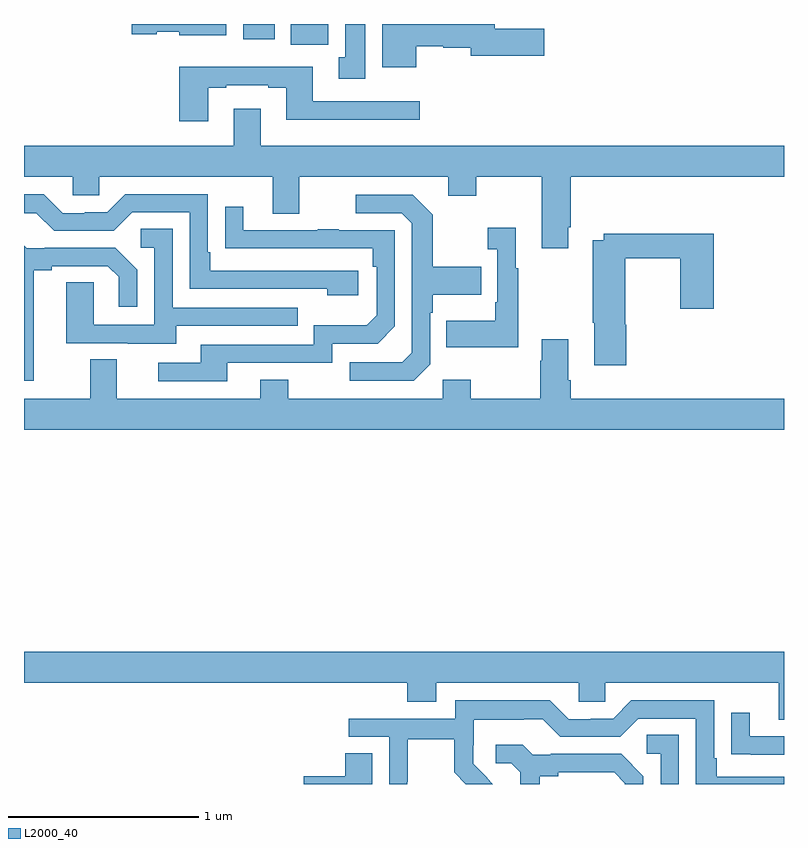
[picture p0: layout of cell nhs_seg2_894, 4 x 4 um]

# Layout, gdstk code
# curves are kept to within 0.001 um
import gdstk
lib = gdstk.Library(unit=1e-6, precision=1e-09)
def R(c, l, rs):  # rectangles x0, y0, x1, y1
    for r in rs: c.add(gdstk.rectangle(r[:2], r[2:], *l))
def P(c, l, *ps):  # polygons
    for p in ps: c.add(gdstk.Polygon(p, *l))
L2000_40 = (2000, 40)

nhs_seg2_894 = lib.new_cell('nhs_seg2_894')
R(nhs_seg2_894, L2000_40, [(158.405,621.692,158.602,621.8), (158.153,621.72,158.32,621.8)])
P(nhs_seg2_894, L2000_40, [(158.065,621.8),(157.566,621.8),(157.566,621.746),(157.698,621.746),(157.698,621.758),(157.818,621.758),(157.818,621.74),(158.065,621.74)],
  [(158.797,621.8),(158.69,621.8),(158.69,621.626),(158.657,621.626),(158.657,621.513),(158.797,621.513)],
  [(159.064,621.684),(159.207,621.684),(159.207,621.676),(159.35,621.676),(159.35,621.634),(159.739,621.634),(159.739,621.776),(159.478,621.776),(159.478,621.8),(158.885,621.8),(158.885,621.572),(159.064,621.572)],
  [(157.969,621.465),(158.065,621.465),(158.065,621.477),(158.285,621.477),(158.285,621.465),(158.381,621.465),(158.381,621.296),(159.082,621.296),(159.082,621.393),(158.521,621.393),(158.521,621.574),(157.817,621.574),(157.817,621.288),(157.969,621.288)],
  [(159.865,620.731),(159.878,620.731),(159.878,620.996),(161,620.996),(161,621.16),(158.245,621.16),(158.245,621.355),(158.105,621.355),(158.105,621.16),(157,621.16),(157,620.996),(157.257,620.996),(157.257,620.898),(157.395,620.898),(157.395,620.996),(158.309,620.996),(158.309,620.802),(158.449,620.802),(158.449,620.996),(159.233,620.996),(159.233,620.897),(159.381,620.897),(159.381,620.996),(159.725,620.996),(159.725,620.619),(159.865,620.619)],
  [(158.758,620.502),(157.981,620.502),(157.981,620.599),(157.968,620.599),(157.968,620.904),(157.533,620.904),(157.437,620.808),(157.319,620.808),(157.319,620.805),(157.203,620.805),(157.103,620.905),(157,620.905),(157,620.805),(157.065,620.805),(157.158,620.712),(157.473,620.712),(157.569,620.808),(157.872,620.808),(157.872,620.406),(158.597,620.406),(158.597,620.372),(158.758,620.372)],
  [(159.138,620.01),(159.138,620.279),(159.151,620.279),(159.151,620.375),(159.407,620.375),(159.407,620.523),(159.151,620.523),(159.151,620.795),(159.045,620.901),(158.745,620.901),(158.745,620.805),(158.988,620.805),(159.042,620.751),(159.042,620.07),(158.991,620.019),(158.715,620.019),(158.715,619.923),(159.051,619.923)],
  [(158.071,620.016),(158.622,620.016),(158.622,620.118),(158.862,620.118),(158.952,620.208),(158.952,620.715),(158.657,620.715),(158.657,620.72),(158.545,620.72),(158.545,620.715),(158.155,620.715),(158.155,620.839),(158.059,620.839),(158.059,620.62),(158.836,620.619),(158.836,620.522),(158.856,620.522),(158.856,620.268),(158.803,620.215),(158.526,620.215),(158.526,620.112),(157.931,620.112),(157.931,620.016),(157.707,620.016),(157.707,619.92),(158.071,619.92)],
  [(159.601,620.515),(159.589,620.515),(159.589,620.728),(159.441,620.728),(159.441,620.615),(159.492,620.615),(159.492,620.335),(159.48,620.335),(159.48,620.239),(159.223,620.239),(159.223,620.099),(159.601,620.099)],
  [(157.801,620.211),(158.441,620.211),(158.441,620.307),(157.782,620.307),(157.782,620.723),(157.614,620.723),(157.614,620.622),(157.686,620.622),(157.686,620.217),(157.368,620.217),(157.368,620.441),(157.223,620.441),(157.223,620.121),(157.547,620.121),(157.547,620.117),(157.801,620.117)],
  [(160.169,620.216),(160.164,620.216),(160.164,620.566),(160.453,620.566),(160.453,620.301),(160.631,620.301),(160.631,620.695),(160.05,620.695),(160.05,620.662),(159.994,620.662),(159.994,620.227),(160.001,620.227),(160.001,620.004),(160.169,620.004)],
  [(157.051,620.504),(157.147,620.504),(157.147,620.526),(157.442,620.526),(157.499,620.469),(157.499,620.313),(157.596,620.313),(157.596,620.506),(157.48,620.622),(157.108,620.622),(157.108,620.619),(157.014,620.619),(157,620.633),(157,619.923),(157.051,619.923)],
  [(161,619.828),(159.878,619.828),(159.878,619.924),(159.865,619.924),(159.865,620.14),(159.725,620.14),(159.725,620.027),(159.718,620.027),(159.718,619.828),(159.351,619.828),(159.351,619.927),(159.204,619.927),(159.204,619.828),(158.391,619.828),(158.391,619.927),(158.243,619.927),(158.243,619.828),(157.489,619.828),(157.489,620.036),(157.349,620.036),(157.349,619.828),(157,619.828),(157,619.664),(161,619.664)],
  [(161,618.496),(157,618.496),(157,618.332),(159.017,618.332),(159.017,618.233),(159.169,618.233),(159.169,618.332),(159.921,618.332),(159.921,618.234),(160.059,618.234),(160.059,618.332),(160.973,618.332),(160.973,618.138),(161,618.138)],
  [(159.018,617.812),(159.021,617.812),(159.021,618.036),(159.265,618.036),(159.265,617.861),(159.326,617.8),(159.468,617.8),(159.364,617.906),(159.364,618.003),(159.366,618.003),(159.366,618.137),(159.629,618.137),(159.629,618.141),(159.729,618.141),(159.822,618.048),(160.137,618.048),(160.233,618.144),(160.536,618.144),(160.536,617.8),(161,617.8),(161,617.838),(160.645,617.838),(160.645,617.935),(160.632,617.935),(160.632,618.24),(160.197,618.24),(160.101,618.144),(159.983,618.144),(159.983,618.141),(159.867,618.141),(159.767,618.241),(159.27,618.241),(159.27,618.144),(158.709,618.144),(158.709,618.048),(158.922,618.048),(158.922,617.8),(159.018,617.8)],
  [(161,618.051),(160.819,618.051),(160.819,618.175),(160.723,618.175),(160.723,617.956),(160.825,617.956),(160.825,617.955),(161,617.955)],
  [(160.446,618.059),(160.278,618.059),(160.278,617.958),(160.35,617.958),(160.35,617.8),(160.446,617.8)],
  [(159.715,617.84),(159.811,617.84),(159.811,617.862),(160.106,617.862),(160.163,617.805),(160.163,617.8),(160.26,617.8),(160.26,617.842),(160.144,617.958),(159.772,617.958),(159.772,617.955),(159.678,617.955),(159.626,618.007),(159.483,618.007),(159.483,617.91),(159.564,617.91),(159.611,617.863),(159.611,617.8),(159.715,617.8)],
  [(158.833,617.963),(158.69,617.963),(158.69,617.84),(158.472,617.84),(158.472,617.8),(158.833,617.8)])

lib.write_gds('nhs_seg2_894.gds')
